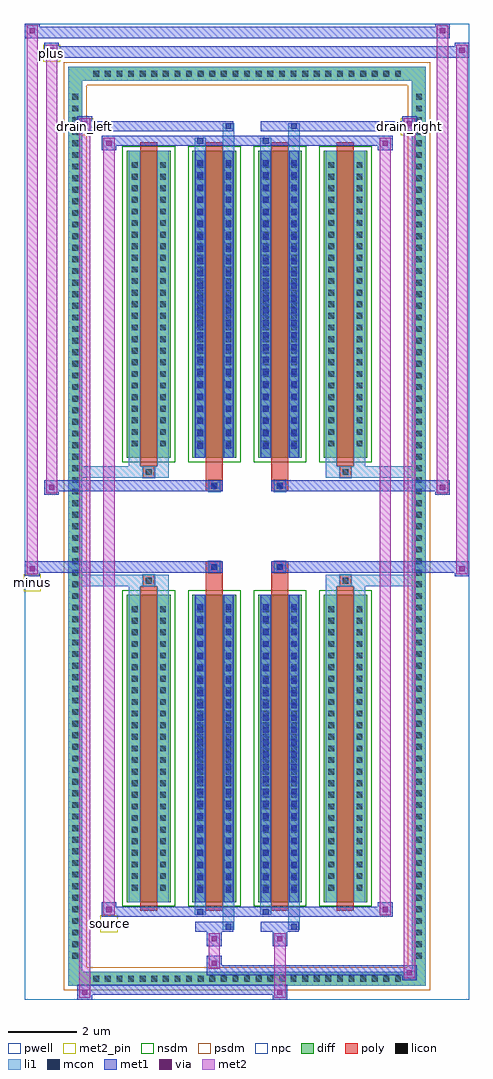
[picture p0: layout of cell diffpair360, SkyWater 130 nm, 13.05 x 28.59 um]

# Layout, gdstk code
import gdstk
lib = gdstk.Library(unit=1e-6, precision=5e-09)
def R(c, l, rs):  # rectangles x0, y0, x1, y1
    for r in rs: c.add(gdstk.rectangle(r[:2], r[2:], *l))
def A(c, l, x, y, w, h, nx, ny, dx, dy):  # array of equal rectangles
    R(c, l, [(x+i*dx, y+j*dy, x+i*dx+w, y+j*dy+h) for i in range(nx) for j in range(ny)])
def P(c, l, *ps):  # polygons
    for p in ps: c.add(gdstk.Polygon(p, *l))
pwell = (64, 44)
diff = (65, 20)
poly = (66, 20)
licon = (66, 44)
li1 = (67, 20)
mcon = (67, 44)
met1 = (68, 20)
via = (68, 44)
met2_pin = (69, 16)
met2 = (69, 20)
nsdm = (93, 44)
psdm = (94, 20)
npc = (95, 20)

diffpair360 = lib.new_cell('diffpair360')
R(diffpair360, pwell, [(-6.51,-13.86,6.51,14.73), (-3.83,-12.05,-0.01,-0.825), (0.01,-12.05,3.83,-0.825), (-3.83,0.825,-0.01,12.05), (0.01,0.825,3.83,12.05)])
A(diffpair360, diff, -4.625, -13.46, 0.41, 0.41, 27, 2, 0.34, 26.51)
A(diffpair360, diff, -5.24, -12.785, 0.41, 0.41, 1, 75, 0, 0.34)
A(diffpair360, diff, 4.83, -12.785, 0.41, 0.41, 1, 75, 0, 0.34)
A(diffpair360, diff, -3.52, -11.005, 1.28, 9, 4, 2, 1.92, 13.01)
R(diffpair360, diff, [(-4.625,-13.46,4.625,-13.05), (-5.24,-12.785,-4.83,12.785), (4.83,-12.785,5.24,12.785), (-4.625,13.05,4.625,13.46)])
P(diffpair360, diff, [(5.24,13.46),(-5.24,13.46),(-5.24,-13.05),(-4.83,-13.05),(-4.83,13.05),(4.83,13.05),(4.83,-13.05),(-4.83,-13.05),(-5.24,-13.05),(-5.24,-13.46),(5.24,-13.46)])
A(diffpair360, poly, -3.13, -11.255, 0.5, 9.5, 4, 2, 1.92, 13.01)
R(diffpair360, poly, [(-3.045,-1.755,-2.715,-1.425), (-3.045,-1.755,-2.715,-1.425), (-1.21,-1.755,-0.71,-1.355), (0.71,-1.755,1.21,-1.355), (2.715,-1.755,3.045,-1.425), (2.715,-1.755,3.045,-1.425), (-1.21,-1.355,-0.71,-1.025), (-1.125,-1.355,-0.795,-1.025), (0.71,-1.355,1.21,-1.025), (0.795,-1.355,1.125,-1.025), (-1.21,1.025,-0.71,1.355), (-1.125,1.025,-0.795,1.355), (0.71,1.025,1.21,1.355), (0.795,1.025,1.125,1.355), (-1.21,1.355,-0.71,1.755), (0.71,1.355,1.21,1.755), (-3.045,1.425,-2.715,1.755), (-3.045,1.425,-2.715,1.755), (2.715,1.425,3.045,1.755), (2.715,1.425,3.045,1.755)])
A(diffpair360, licon, -4.505, -13.34, 0.17, 0.17, 27, 2, 0.34, 26.51)
A(diffpair360, licon, -5.12, -12.665, 0.17, 0.17, 1, 75, 0, 0.34)
A(diffpair360, licon, 4.95, -12.665, 0.17, 0.17, 1, 75, 0, 0.34)
A(diffpair360, licon, -3.38, -10.67, 0.17, 0.17, 1, 25, 0, 0.34)
A(diffpair360, licon, -2.55, -10.67, 0.17, 0.17, 1, 25, 0, 0.34)
A(diffpair360, licon, -1.46, -10.67, 0.17, 0.17, 1, 25, 0, 0.34)
A(diffpair360, licon, -0.63, -10.67, 0.17, 0.17, 1, 25, 0, 0.34)
A(diffpair360, licon, 0.46, -10.67, 0.17, 0.17, 1, 25, 0, 0.34)
A(diffpair360, licon, 1.29, -10.67, 0.17, 0.17, 1, 25, 0, 0.34)
A(diffpair360, licon, 2.38, -10.67, 0.17, 0.17, 1, 25, 0, 0.34)
A(diffpair360, licon, 3.21, -10.67, 0.17, 0.17, 1, 25, 0, 0.34)
A(diffpair360, licon, -3.38, 2.34, 0.17, 0.17, 1, 25, 0, 0.34)
A(diffpair360, licon, -2.55, 2.34, 0.17, 0.17, 1, 25, 0, 0.34)
A(diffpair360, licon, -1.46, 2.34, 0.17, 0.17, 1, 25, 0, 0.34)
A(diffpair360, licon, -0.63, 2.34, 0.17, 0.17, 1, 25, 0, 0.34)
A(diffpair360, licon, 0.46, 2.34, 0.17, 0.17, 1, 25, 0, 0.34)
A(diffpair360, licon, 1.29, 2.34, 0.17, 0.17, 1, 25, 0, 0.34)
A(diffpair360, licon, 2.38, 2.34, 0.17, 0.17, 1, 25, 0, 0.34)
A(diffpair360, licon, 3.21, 2.34, 0.17, 0.17, 1, 25, 0, 0.34)
R(diffpair360, licon, [(-2.965,-1.675,-2.795,-1.505), (2.795,-1.675,2.965,-1.505), (-1.045,-1.275,-0.875,-1.105), (0.875,-1.275,1.045,-1.105), (-1.045,1.105,-0.875,1.275), (0.875,1.105,1.045,1.275), (-2.965,1.505,-2.795,1.675), (2.795,1.505,2.965,1.675)])
A(diffpair360, li1, -4.585, -13.42, 0.33, 0.33, 27, 2, 0.34, 26.51)
A(diffpair360, li1, -5.2, -12.745, 0.33, 0.33, 1, 75, 0, 0.34)
A(diffpair360, li1, 4.87, -12.745, 0.33, 0.33, 1, 75, 0, 0.34)
A(diffpair360, li1, -3.46, -10.75, 0.33, 0.33, 1, 25, 0, 0.34)
A(diffpair360, li1, -2.63, -10.75, 0.33, 0.33, 1, 25, 0, 0.34)
A(diffpair360, li1, -1.54, -10.75, 0.33, 0.33, 1, 25, 0, 0.34)
A(diffpair360, li1, -0.71, -10.75, 0.33, 0.33, 1, 25, 0, 0.34)
A(diffpair360, li1, 0.38, -10.75, 0.33, 0.33, 1, 25, 0, 0.34)
A(diffpair360, li1, 1.21, -10.75, 0.33, 0.33, 1, 25, 0, 0.34)
A(diffpair360, li1, 2.3, -10.75, 0.33, 0.33, 1, 25, 0, 0.34)
A(diffpair360, li1, 3.13, -10.75, 0.33, 0.33, 1, 25, 0, 0.34)
A(diffpair360, li1, -1.46, -10.73, 0.17, 0.17, 1, 24, 0, 0.36)
A(diffpair360, li1, -0.63, -10.73, 0.17, 0.17, 1, 24, 0, 0.36)
A(diffpair360, li1, 0.46, -10.73, 0.17, 0.17, 1, 24, 0, 0.36)
A(diffpair360, li1, 1.29, -10.73, 0.17, 0.17, 1, 24, 0, 0.36)
A(diffpair360, li1, -3.46, 2.26, 0.33, 0.33, 1, 25, 0, 0.34)
A(diffpair360, li1, -2.63, 2.26, 0.33, 0.33, 1, 25, 0, 0.34)
A(diffpair360, li1, -1.54, 2.26, 0.33, 0.33, 1, 25, 0, 0.34)
A(diffpair360, li1, -0.71, 2.26, 0.33, 0.33, 1, 25, 0, 0.34)
A(diffpair360, li1, 0.38, 2.26, 0.33, 0.33, 1, 25, 0, 0.34)
A(diffpair360, li1, 1.21, 2.26, 0.33, 0.33, 1, 25, 0, 0.34)
A(diffpair360, li1, 2.3, 2.26, 0.33, 0.33, 1, 25, 0, 0.34)
A(diffpair360, li1, 3.13, 2.26, 0.33, 0.33, 1, 25, 0, 0.34)
A(diffpair360, li1, -1.46, 2.28, 0.17, 0.17, 1, 24, 0, 0.36)
A(diffpair360, li1, -0.63, 2.28, 0.17, 0.17, 1, 24, 0, 0.36)
A(diffpair360, li1, 0.46, 2.28, 0.17, 0.17, 1, 24, 0, 0.36)
A(diffpair360, li1, 1.29, 2.28, 0.17, 0.17, 1, 24, 0, 0.36)
R(diffpair360, li1, [(-5.24,-13.46,-4.83,-13.05), (-5.24,-13.46,-4.83,-13.05), (-4.83,-13.46,4.83,-13.05), (4.83,-13.46,5.24,-13.05), (4.83,-13.46,5.24,-13.05), (-5.24,-13.05,-4.83,13.05), (4.83,-13.05,5.24,13.05), (-0.71,-11.81,-0.38,-11.005), (-0.63,-11.81,-0.46,-11.64), (1.21,-11.81,1.54,-11.005), (1.29,-11.81,1.46,-11.64), (-1.54,-11.38,-1.21,-11.005), (-1.46,-11.38,-1.29,-11.21), (0.38,-11.38,0.71,-11.005), (0.46,-11.38,0.63,-11.21), (-3.46,-11.005,-3.13,-2.005), (-2.63,-11.005,-2.3,-2.005), (-1.54,-11.005,-1.21,-2.005), (-0.71,-11.005,-0.38,-2.005), (0.38,-11.005,0.71,-2.005), (1.21,-11.005,1.54,-2.005), (2.3,-11.005,2.63,-2.005), (3.13,-11.005,3.46,-2.005), (-1.46,-10.73,-1.29,-2.28), (-0.63,-10.73,-0.46,-2.28), (0.46,-10.73,0.63,-2.28), (1.29,-10.73,1.46,-2.28), (-3.46,-2.005,-3.13,-1.425), (-2.63,-2.005,-2.3,-1.425), (2.3,-2.005,2.63,-1.425), (3.13,-2.005,3.46,-1.425), (-5.24,-1.755,-3.045,-1.425), (-3.46,-1.755,-3.045,-1.425), (-3.045,-1.755,-2.715,-1.425), (-2.715,-1.755,-2.3,-1.425), (2.3,-1.755,2.715,-1.425), (2.715,-1.755,3.045,-1.425), (2.715,-1.755,5.24,-1.425), (3.045,-1.755,3.46,-1.425), (-1.125,-1.355,-0.795,-1.025), (0.795,-1.355,1.125,-1.025), (-1.125,1.025,-0.795,1.355), (0.795,1.025,1.125,1.355), (-5.24,1.425,-3.045,1.755), (-3.46,1.425,-3.045,1.755), (-3.46,1.425,-3.13,2.005), (-3.045,1.425,-2.715,1.755), (-2.715,1.425,-2.3,1.755), (-2.63,1.425,-2.3,2.005), (2.3,1.425,2.715,1.755), (2.3,1.425,2.63,2.005), (2.715,1.425,3.045,1.755), (2.715,1.425,5.24,1.755), (3.045,1.425,3.46,1.755), (3.13,1.425,3.46,2.005), (-3.46,2.005,-3.13,11.005), (-2.63,2.005,-2.3,11.005), (-1.54,2.005,-1.21,11.005), (-0.71,2.005,-0.38,11.005), (0.38,2.005,0.71,11.005), (1.21,2.005,1.54,11.005), (2.3,2.005,2.63,11.005), (3.13,2.005,3.46,11.005), (-1.46,2.28,-1.29,10.73), (-0.63,2.28,-0.46,10.73), (0.46,2.28,0.63,10.73), (1.29,2.28,1.46,10.73), (-1.54,11.005,-1.21,11.38), (-0.71,11.005,-0.38,11.81), (0.38,11.005,0.71,11.38), (1.21,11.005,1.54,11.81), (-1.46,11.21,-1.29,11.38), (0.46,11.21,0.63,11.38), (-0.63,11.64,-0.46,11.81), (1.29,11.64,1.46,11.81), (-5.24,13.05,-4.83,13.46), (-5.24,13.05,-4.83,13.46), (-4.83,13.05,4.83,13.46), (4.83,13.05,5.24,13.46), (4.83,13.05,5.24,13.46)])
A(diffpair360, mcon, -1.46, -10.73, 0.17, 0.17, 1, 24, 0, 0.36)
A(diffpair360, mcon, -0.63, -10.73, 0.17, 0.17, 1, 24, 0, 0.36)
A(diffpair360, mcon, 0.46, -10.73, 0.17, 0.17, 1, 24, 0, 0.36)
A(diffpair360, mcon, 1.29, -10.73, 0.17, 0.17, 1, 24, 0, 0.36)
A(diffpair360, mcon, -1.46, 2.28, 0.17, 0.17, 1, 24, 0, 0.36)
A(diffpair360, mcon, -0.63, 2.28, 0.17, 0.17, 1, 24, 0, 0.36)
A(diffpair360, mcon, 0.46, 2.28, 0.17, 0.17, 1, 24, 0, 0.36)
A(diffpair360, mcon, 1.29, 2.28, 0.17, 0.17, 1, 24, 0, 0.36)
R(diffpair360, mcon, [(-0.63,-11.81,-0.46,-11.64), (1.29,-11.81,1.46,-11.64), (-1.46,-11.38,-1.29,-11.21), (0.46,-11.38,0.63,-11.21), (-1.045,-1.275,-0.875,-1.105), (0.875,-1.275,1.045,-1.105), (-1.045,1.105,-0.875,1.275), (0.875,1.105,1.045,1.275), (-1.46,11.21,-1.29,11.38), (0.46,11.21,0.63,11.38), (-0.63,11.64,-0.46,11.81), (1.29,11.64,1.46,11.81)])
A(diffpair360, met1, -1.52, -10.79, 0.29, 0.29, 1, 24, 0, 0.36)
A(diffpair360, met1, -0.69, -10.79, 0.29, 0.29, 1, 24, 0, 0.36)
A(diffpair360, met1, 0.4, -10.79, 0.29, 0.29, 1, 24, 0, 0.36)
A(diffpair360, met1, 1.23, -10.79, 0.29, 0.29, 1, 24, 0, 0.36)
A(diffpair360, met1, -1.52, 2.22, 0.29, 0.29, 1, 24, 0, 0.36)
A(diffpair360, met1, -0.69, 2.22, 0.29, 0.29, 1, 24, 0, 0.36)
A(diffpair360, met1, 0.4, 2.22, 0.29, 0.29, 1, 24, 0, 0.36)
A(diffpair360, met1, 1.23, 2.22, 0.29, 0.29, 1, 24, 0, 0.36)
R(diffpair360, met1, [(-4.97,-13.86,-4.54,-13.43), (0.745,-13.86,1.175,-13.43), (-4.97,-13.72,1.175,-13.43), (4.54,-13.29,4.97,-12.86), (-1.175,-13.15,4.97,-12.86), (-1.175,-13.01,-0.745,-12.58), (-1.175,-12.3,-0.745,-11.87), (0.745,-12.3,1.175,-11.87), (-1.52,-11.87,-0.4,-11.58), (-0.69,-11.87,-0.4,-11.58), (0.4,-11.87,1.52,-11.58), (1.23,-11.87,1.52,-11.58), (-4.26,-11.44,-3.83,-11.01), (-4.26,-11.44,-1.52,-11.15), (-1.52,-11.44,-1.23,-11.15), (-1.52,-11.44,-0.4,-11.15), (-0.4,-11.44,0.4,-11.15), (0.4,-11.44,0.69,-11.15), (0.4,-11.44,1.52,-11.15), (1.52,-11.44,4.26,-11.15), (3.83,-11.44,4.26,-11.01), (-1.52,-11.005,-1.23,-2.005), (-0.69,-11.005,-0.4,-2.005), (0.4,-11.005,0.69,-2.005), (1.23,-11.005,1.52,-2.005), (-6.51,-1.455,-6.08,-1.025), (6.08,-1.455,6.51,-1.025), (-6.51,-1.355,-0.71,-1.025), (-1.21,-1.355,-0.71,-1.025), (0.71,-1.355,1.21,-1.025), (0.71,-1.355,6.51,-1.025), (-1.105,-1.335,-0.815,-1.045), (0.815,-1.335,1.105,-1.045), (-5.94,0.925,-5.51,1.355), (5.51,0.925,5.94,1.355), (-5.94,1.025,-1.21,1.355), (-1.21,1.025,-0.71,1.355), (0.71,1.025,1.21,1.355), (1.21,1.025,5.94,1.355), (-1.105,1.045,-0.815,1.335), (0.815,1.045,1.105,1.335), (-1.52,2.005,-1.23,11.005), (-0.69,2.005,-0.4,11.005), (0.4,2.005,0.69,11.005), (1.23,2.005,1.52,11.005), (-4.26,11.01,-3.83,11.44), (3.83,11.01,4.26,11.44), (-4.26,11.15,-1.52,11.44), (-1.52,11.15,-1.23,11.44), (-1.52,11.15,-0.4,11.44), (-0.4,11.15,0.4,11.44), (0.4,11.15,0.69,11.44), (0.4,11.15,1.52,11.44), (1.52,11.15,4.26,11.44), (-4.97,11.58,-4.54,12.01), (-4.97,11.58,-1.52,11.87), (-1.52,11.58,-0.4,11.87), (-0.69,11.58,-0.4,11.87), (0.4,11.58,1.52,11.87), (1.23,11.58,1.52,11.87), (1.52,11.58,4.97,11.87), (4.54,11.58,4.97,12.01), (-5.94,13.73,-5.51,14.16), (-5.94,13.73,-3.83,14.06), (-3.83,13.73,3.83,14.06), (3.83,13.73,6.51,14.06), (6.08,13.73,6.51,14.16), (-6.51,14.3,-6.08,14.73), (-6.51,14.3,-3.83,14.63), (-3.83,14.3,3.83,14.63), (3.83,14.3,5.94,14.63), (5.51,14.3,5.94,14.73)])
R(diffpair360, via, [(-4.83,-13.72,-4.68,-13.57), (0.885,-13.72,1.035,-13.57), (4.68,-13.15,4.83,-13), (-1.035,-12.87,-0.885,-12.72), (-1.035,-12.16,-0.885,-12.01), (0.885,-12.16,1.035,-12.01), (-4.12,-11.3,-3.97,-11.15), (3.97,-11.3,4.12,-11.15), (-6.37,-1.315,-6.22,-1.165), (6.22,-1.315,6.37,-1.165), (-5.8,1.065,-5.65,1.215), (5.65,1.065,5.8,1.215), (-4.12,11.15,-3.97,11.3), (3.97,11.15,4.12,11.3), (-4.83,11.72,-4.68,11.87), (4.68,11.72,4.83,11.87), (-5.8,13.87,-5.65,14.02), (6.22,13.87,6.37,14.02), (-6.37,14.44,-6.22,14.59), (5.65,14.44,5.8,14.59)])
R(diffpair360, met2_pin, [(-4.295,-11.89,-3.795,-11.39), (-6.545,-1.905,-6.045,-1.405), (-5.005,11.46,-4.505,11.96), (4.505,11.46,5.005,11.96), (-5.975,13.61,-5.475,14.11)])
R(diffpair360, met2, [(-4.92,-13.81,-4.59,-13.48), (-4.92,-13.81,-4.59,11.96), (0.795,-13.81,1.125,-13.48), (0.795,-13.48,1.125,-12.25), (4.59,-13.24,4.92,-12.91), (4.59,-13.24,4.92,11.96), (-1.125,-12.96,-0.795,-12.63), (-1.125,-12.63,-0.795,-12.25), (-1.125,-12.25,-0.795,-11.92), (0.795,-12.25,1.125,-11.92), (-4.21,-11.39,-3.88,-11.06), (-4.21,-11.39,-3.88,11.39), (3.88,-11.39,4.21,-11.06), (3.88,-11.39,4.21,11.39), (-6.46,-1.405,-6.13,-1.075), (-6.46,-1.405,-6.13,14.68), (6.13,-1.405,6.46,-1.075), (6.13,-1.405,6.46,14.11), (-5.89,0.975,-5.56,1.305), (-5.89,0.975,-5.56,14.11), (5.56,0.975,5.89,1.305), (5.56,0.975,5.89,14.68), (-4.21,11.06,-3.88,11.39), (3.88,11.06,4.21,11.39), (-4.92,11.63,-4.59,11.96), (4.59,11.63,4.92,11.96), (-5.89,13.78,-5.56,14.11), (6.13,13.78,6.46,14.11), (-6.46,14.35,-6.13,14.68), (5.56,14.35,5.89,14.68)])
P(diffpair360, met2, [(6.46,-1.405),(6.46,-1.405),(6.46,-1.075),(6.46,-1.075)],
  [(6.46,13.78),(6.46,13.78),(6.46,14.11),(6.46,14.11)],
  [(-6.13,-1.405),(-6.13,-1.405),(-6.13,-1.075),(-6.13,-1.075)],
  [(-6.13,14.35),(-6.13,14.35),(-6.13,14.68),(-6.13,14.68)],
  [(5.89,0.975),(5.89,0.975),(5.89,1.305),(5.89,1.305)],
  [(5.89,14.35),(5.89,14.35),(5.89,14.68),(5.89,14.68)],
  [(-5.56,0.975),(-5.56,0.975),(-5.56,1.305),(-5.56,1.305)],
  [(-5.56,13.78),(-5.56,13.78),(-5.56,14.11),(-5.56,14.11)],
  [(-4.59,-13.81),(-4.59,-13.81),(-4.59,-13.48),(-4.59,-13.48)],
  [(-4.59,11.63),(-4.59,11.63),(-4.59,11.96),(-4.59,11.96)],
  [(4.92,-13.24),(4.92,-13.24),(4.92,-12.91),(4.92,-12.91)],
  [(4.92,11.63),(4.92,11.63),(4.92,11.96),(4.92,11.96)],
  [(-3.88,-11.39),(-3.88,-11.39),(-3.88,-11.06),(-3.88,-11.06)],
  [(-3.88,11.06),(-3.88,11.06),(-3.88,11.39),(-3.88,11.39)],
  [(4.21,-11.39),(4.21,-11.39),(4.21,-11.06),(4.21,-11.06)],
  [(4.21,11.06),(4.21,11.06),(4.21,11.39),(4.21,11.39)])
A(diffpair360, nsdm, -3.65, -11.135, 1.54, 9.26, 4, 2, 1.92, 13.01)
P(diffpair360, psdm, [(5.37,13.59),(-5.37,13.59),(-5.37,-12.92),(-4.7,-12.92),(-4.7,12.92),(4.7,12.92),(4.7,-12.92),(-4.7,-12.92),(-5.37,-12.92),(-5.37,-13.59),(5.37,-13.59)])
R(diffpair360, npc, [(-3.065,-1.775,-2.695,-1.405), (2.695,-1.775,3.065,-1.405), (-1.145,-1.375,-0.775,-1.005), (0.775,-1.375,1.145,-1.005), (-1.145,1.005,-0.775,1.375), (0.775,1.005,1.145,1.375), (-3.065,1.405,-2.695,1.775), (2.695,1.405,3.065,1.775)])
diffpair360.add(gdstk.Label('minus', (-6.295,-1.655), layer=69, texttype=5))
diffpair360.add(gdstk.Label('drain_right', (4.755,11.71), layer=69, texttype=5))
diffpair360.add(gdstk.Label('drain_left', (-4.755,11.71), layer=69, texttype=5))
diffpair360.add(gdstk.Label('source', (-4.045,-11.64), layer=69, texttype=5))
diffpair360.add(gdstk.Label('plus', (-5.725,13.86), layer=69, texttype=5))

lib.write_gds('diffpair360.gds')
